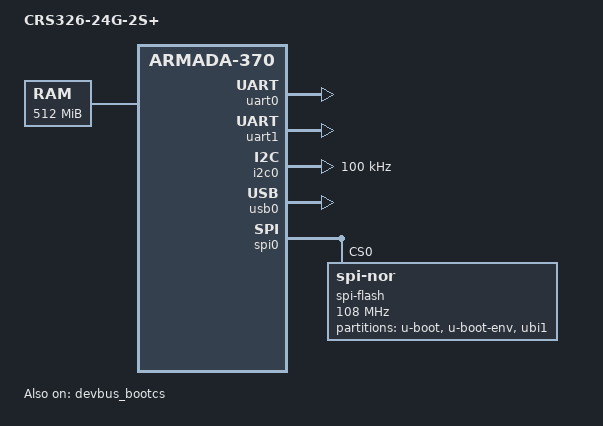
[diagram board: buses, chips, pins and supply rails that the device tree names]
// SPDX-License-Identifier: (GPL-2.0+ OR MIT)
/*
 * Device Tree file for CRS326-24G-2S board
 *
 * Copyright (C) 2016 Allied Telesis Labs
 * Copyright (C) 2020 Sartura Ltd.
 *
 * Based on armada-xp-db.dts
 *
 * Note: this Device Tree assumes that the bootloader has remapped the
 * internal registers to 0xf1000000 (instead of the default
 * 0xd0000000). The 0xf1000000 is the default used by the recent,
 * DT-capable, U-Boot bootloaders provided by Marvell. Some earlier
 * boards were delivered with an older version of the bootloader that
 * left internal registers mapped at 0xd0000000. If you are in this
 * situation, you should either update your bootloader (preferred
 * solution) or the below Device Tree should be adjusted.
 */

/dts-v1/;
#include "armada-xp-98dx3236.dtsi"

/ {
	model = "CRS326-24G-2S+";
	compatible = "mikrotik,crs326-24g-2s", "marvell,armadaxp-98dx3236", "marvell,armada-370-xp";

	chosen {
		bootargs = "console=ttyS0,115200 earlyprintk";
	};

	memory {
		device_type = "memory";
		reg = <0 0x00000000 0 0x20000000>; /* 512 MB */
	};
};

&L2 {
	arm,parity-enable;
	marvell,ecc-enable;
};

&devbus_bootcs {
	status = "okay";

	/* Device Bus parameters are required */

	/* Read parameters */
	devbus,bus-width    = <16>;
	devbus,turn-off-ps  = <60000>;
	devbus,badr-skew-ps = <0>;
	devbus,acc-first-ps = <124000>;
	devbus,acc-next-ps  = <248000>;
	devbus,rd-setup-ps  = <0>;
	devbus,rd-hold-ps   = <0>;

	/* Write parameters */
	devbus,sync-enable = <0>;
	devbus,wr-high-ps  = <60000>;
	devbus,wr-low-ps   = <60000>;
	devbus,ale-wr-ps   = <60000>;
};

&uart0 {
	status = "okay";
};

&uart1 {
	status = "okay";
};

&i2c0 {
	clock-frequency = <100000>;
	status = "okay";
};

&usb0 {
	status = "okay";
};

&spi0 {
	status = "okay";

	spi-flash@0 {
		#address-cells = <1>;
		#size-cells = <1>;
		compatible = "jedec,spi-nor";
		reg = <0>; /* Chip select 0 */
		spi-max-frequency = <108000000>;
		m25p,fast-read;

		partition@u-boot {
			reg = <0x00000000 0x001f0000>;
			label = "u-boot";
		};
		partition@u-boot-env {
			reg = <0x001f0000 0x00010000>;
			label = "u-boot-env";
		};
		partition@ubi1 {
			reg = <0x00200000 0x00e00000>;
			label = "ubi1";
		};
	};
};
